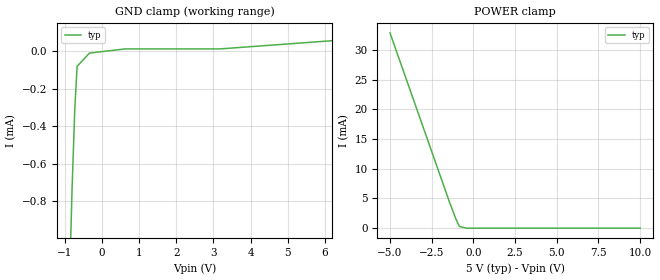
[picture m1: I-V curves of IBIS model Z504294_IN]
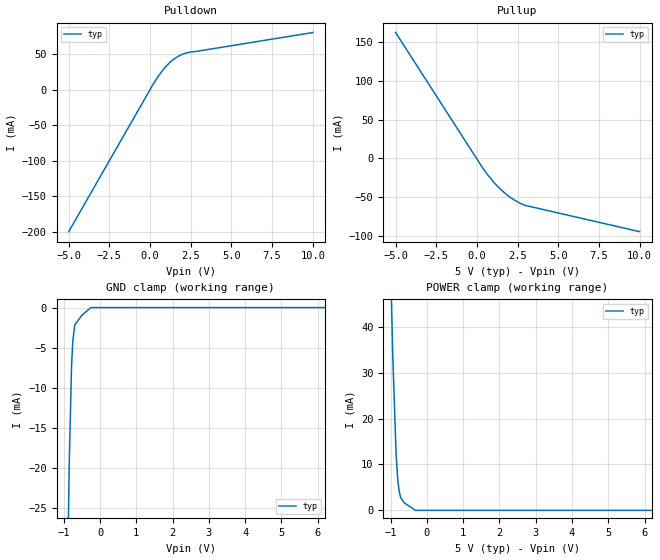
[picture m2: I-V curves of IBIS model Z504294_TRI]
| YOU ARE ONLY AUTHORIZED TO USE THIS SOFTWARE
| ACCORDING TO LICENSOR'S LICENSE RESTRICTIONS.
[IBIS Ver] 3.1
[File Name] mc54hct244aj.ibs
[File Rev] 2.0
[Source] Measured and created by ICX Technology
[Date] Friday 7/14/00 9:08:11 AM
[Copyright]
| (C) COPYRIGHT 1993-2000
| MENTOR GRAPHICS CORPORATION
| ICX STANDARD LIBRARY, ICX PROJECT MODELING,
| ICX CUSTOM MODELING, ICX VENDOR MODEL
| ALL RIGHTS RESERVED.
| THE FOLLOWING ARE TRADEMARKS OR SERVICE MARKS OF
| MENTOR GRAPHICS CORPORATION:ICX (R), ICX STANDARD
| LIBRARY(R), ICX PROJECT MODELING(R), ICX CUSTOM
| MODELING(R), qualityIBIS(TM), MODELVIEWER(TM),
| AND MODELEDITOR(TM)
| ALL COPIES OF SOFTWARE, INCLUDING BUT NOT LIMITED TO
| ANY MODIFICATIONS, ENHANCEMENTS OR DERIVATIVE WORKS,
| MUST CONTAIN ALL MENTOR GRAPHICS CORPORATION'S
| NOTICES AND LEGENDS, INCLUDING THOSE EMBEDDED IN
| SOFTWARE AND THOSE AFFIXED TO SOFTWARE MEDIUM
| AND CONTAINER, AS RECEIVED FROM MENTOR GRAPHICS
| CORPORATION.
|  ZAP Model Builder 2.7
[Component] MC54HCT244AJ
[Manufacturer] OnSemiconductor
[Package]
| variable   typ   min   max
R_pkg  .216ohms NA NA
L_pkg  5.76nH NA NA
C_pkg  2.193pF NA NA
[Pin] signal_name  model_name  R_pin  L_pin C_pin
1 _G Z504294_IN .232 9.76n 3.179p
2 A0 Z504294_IN .224 7.26n 2.686p
3 Y3 Z504294_TRI .216 5.26n 2.193p
4 A1 Z504294_IN .208 3.76n 1.7p
5 Y2 Z504294_TRI .2 2.76n 1.207p
6 A2 Z504294_IN .2 2.76n 1.207p
7 Y1 Z504294_TRI .208 3.76n 1.7p
8 A3 Z504294_IN .216 5.26n 2.193p
9 Y0 Z504294_TRI .224 7.26n 2.686p
10 GND GND .232 9.76n 3.179p
11 A0 Z504294_IN .232 9.76n 3.179p
12 Y3 Z504294_TRI .224 7.26n 2.686p
13 A1 Z504294_IN .216 5.26n 2.193p
14 Y2 Z504294_TRI .208 3.76n 1.7p
15 A2 Z504294_IN .2 2.76n 1.207p
16 Y1 Z504294_TRI .2 2.76n 1.207p
17 A3 Z504294_IN .208 3.76n 1.7p
18 Y0 Z504294_TRI .216 5.26n 2.193p
19 _G Z504294_IN .224 7.26n 2.686p
20 VCC POWER .232 9.76n 3.179p
| Models and submodels in the file (2): Z504294_IN (Input), Z504294_TRI (3-state)
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| (C) COPYRIGHT 1993-2000
| MENTOR GRAPHICS CORPORATION
| ICX STANDARD LIBRARY, ICX PROJECT MODELING,
| ICX CUSTOM MODELING, ICX VENDOR MODEL
| ALL RIGHTS RESERVED.
| THE FOLLOWING ARE TRADEMARKS OR SERVICE MARKS OF
| MENTOR GRAPHICS CORPORATION:ICX (R), ICX STANDARD
| LIBRARY(R), ICX PROJECT MODELING(R), ICX CUSTOM
| MODELING(R), qualityIBIS(TM), MODELVIEWER(TM),
| AND MODELEDITOR(TM)
| ALL COPIES OF SOFTWARE, INCLUDING BUT NOT LIMITED TO
| ANY MODIFICATIONS, ENHANCEMENTS OR DERIVATIVE WORKS,
| MUST CONTAIN ALL MENTOR GRAPHICS CORPORATION'S
| NOTICES AND LEGENDS, INCLUDING THOSE EMBEDDED IN
| SOFTWARE AND THOSE AFFIXED TO SOFTWARE MEDIUM
| AND CONTAINER, AS RECEIVED FROM MENTOR GRAPHICS
| CORPORATION.
| Model Application Version 1.89 2/18/99.
[Model] Z504294_IN
Model_type Input
Vinl = 800.0mV
Vinh = 2.000V
C_comp 4.000pF NA NA
| variable typ   min   max
[Voltage Range] 5.000V NA NA
[GND Clamp Reference] 0.000V NA NA
[POWER Clamp Reference] 5.000V NA NA
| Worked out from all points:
|   GND clamp passes 1 mA (typ) near -0.84 V on its own axis
|   POWER clamp passes 1 mA (typ) near -0.96 V on its own axis
[GND Clamp]
-5V       -35.77mA   NA         NA
-1.005V   -2.254mA   NA         NA
-800.7mV  -736.5uA   NA         NA
-727.3mV  -310.2uA   NA         NA
-664.1mV  -81.24uA   NA         NA
-332mV    -10.49uA   NA         NA
628.3mV   11.58uA    NA         NA
3.178V    11.58uA    NA         NA
10V       110.7uA    NA         NA
[POWER Clamp]
-5V       32.86mA    NA         NA
-1.426V   4.336mA    NA         NA
-1.055V   1.587mA    NA         NA
-903mV    644.6uA    NA         NA
-828mV    274.1uA    NA         NA
-414mV    0A         NA         NA
10V       0A         NA         NA
| (C) COPYRIGHT 1993-2000
| MENTOR GRAPHICS CORPORATION
| ICX STANDARD LIBRARY, ICX PROJECT MODELING,
| ICX CUSTOM MODELING, ICX VENDOR MODEL
| ALL RIGHTS RESERVED.
| THE FOLLOWING ARE TRADEMARKS OR SERVICE MARKS OF
| MENTOR GRAPHICS CORPORATION:ICX (R), ICX STANDARD
| LIBRARY(R), ICX PROJECT MODELING(R), ICX CUSTOM
| MODELING(R), qualityIBIS(TM), MODELVIEWER(TM),
| AND MODELEDITOR(TM)
| ALL COPIES OF SOFTWARE, INCLUDING BUT NOT LIMITED TO
| ANY MODIFICATIONS, ENHANCEMENTS OR DERIVATIVE WORKS,
| MUST CONTAIN ALL MENTOR GRAPHICS CORPORATION'S
| NOTICES AND LEGENDS, INCLUDING THOSE EMBEDDED IN
| SOFTWARE AND THOSE AFFIXED TO SOFTWARE MEDIUM
| AND CONTAINER, AS RECEIVED FROM MENTOR GRAPHICS
| CORPORATION.
| Model Application Version 1.89 2/18/99.
[Model] Z504294_TRI
Model_type 3-state
Vref=0.000V
Rref=500.0Mohms
Cref=50.00pF
Vmeas=1.300V
C_comp 8.000pF NA NA
| variable typ   min   max
[Voltage Range] 5.000V NA NA
[POWER Clamp Reference] 5.000V NA NA
[Pullup Reference] 5.000V NA NA
[Pulldown Reference] 0.000V NA NA
[GND Clamp Reference] 0.000V NA NA
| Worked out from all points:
|   slope of the pulldown table from 0 to 0.75 V, typ, clamps not added: 28.6 ohm
|   slope of the pullup table from 0 to 0.75 V, typ, clamps not added: 33.4 ohm
|   GND clamp passes 1 mA (typ) near -0.51 V on its own axis
[GND Clamp]
-5V       -1.236A    NA         NA
-849.5mV  -19.47mA   NA         NA
-786.1mV  -7.343mA   NA         NA
-751.9mV  -4.249mA   NA         NA
-698.1mV  -2.179mA   NA         NA
-507.8mV  -994.3uA   NA         NA
-253.9mV  0A         NA         NA
10V       0A         NA         NA
[Pulldown]
-5V       -199.9mA   NA         NA
181.3mV   7.183mA    NA         NA
507.2mV   18.87mA    NA         NA
908.7mV   31mA       NA         NA
1.223V    38.4mA     NA         NA
1.775V    47.35mA    NA         NA
2.484V    52.77mA    NA         NA
10V       80.22mA    NA         NA
[Pullup]
-5V       161.9mA    NA         NA
313mV     -11.07mA   NA         NA
620mV     -20.02mA   NA         NA
1.066V    -31.5mA    NA         NA
1.475V    -40.23mA   NA         NA
1.885V    -47.66mA   NA         NA
2.083V    -50.63mA   NA         NA
2.3V      -53.56mA   NA         NA
2.617V    -57.19mA   NA         NA
2.91V     -60.19mA   NA         NA
10V       -94.22mA   NA         NA
[POWER Clamp]
-5V       1.428A     NA         NA
-943mV    34mA       NA         NA
-850mV    12.2mA     NA         NA
-800mV    6.248mA    NA         NA
-762mV    4.035mA    NA         NA
-723mV    2.794mA    NA         NA
-630mV    1.672mA    NA         NA
-315mV    0A         NA         NA
10V       0A         NA         NA
[Ramp]
| variable typ min max
dV/dt_r 2.841/2.466n NA NA
dV/dt_f 2.841/1.700n NA NA
R_load = 500.0Ohms
